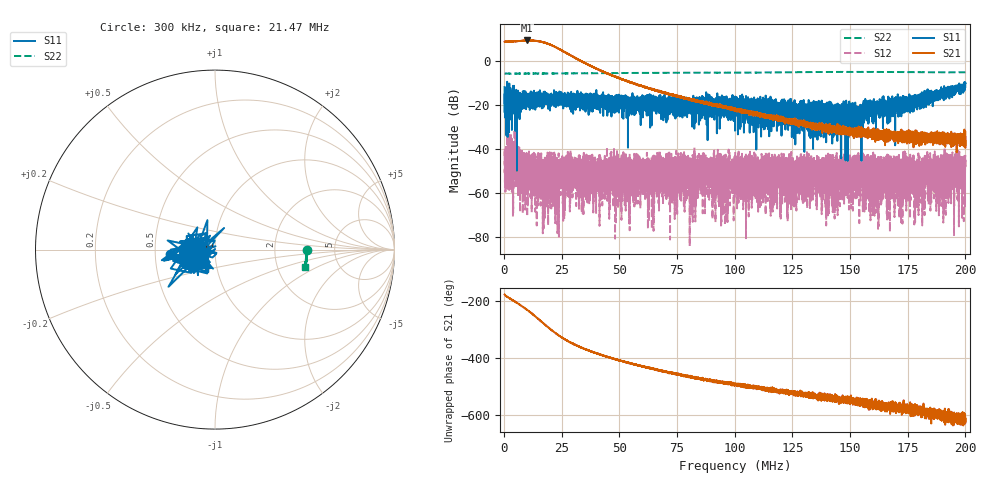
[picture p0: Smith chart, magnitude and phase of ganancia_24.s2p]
# Hz S DB R 50
! CMT, M5065, 19127446, 24.2.4/2
! Date: 11/8/2024 3:59:11 PM
! Data: Format (Calibration Info)
! Freq	S11:dB/Ang(F2)	S21:dB/Ang(F2)	S12:dB/Ang(F2)	S22:dB/Ang(F2)
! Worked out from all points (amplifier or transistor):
!   9000 points, 300 kHz to 200 MHz, reference 50 ohm
!   highest |S21| = 9.2 dB at 10.04 MHz (marker M1)
!   |S21| within 3 dB of that: start of sweep to 22.32 MHz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
!   unconditionally stable (mu >= 1): start of sweep to end of sweep
!   at 33.59 MHz: K = 96.25, MAG = 1.1 dB, |S12| = -48.2 dB
!   at 100.2 MHz: K = 1614.95, MAG = -20.9 dB, |S12| = -50.9 dB
!   at 200 MHz: K = 3399.93, MAG = -34.3 dB, |S12| = -44.3 dB
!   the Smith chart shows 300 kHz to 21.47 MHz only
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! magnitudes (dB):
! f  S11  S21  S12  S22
! 300 kHz  -12.0  8.6  -44.5  -5.8
! 1.521 MHz  -14.3  8.6  -41.9  -5.8
! 5.249 MHz  -22.4  8.9  -44.0  -5.9
! 7.268 MHz  -15.9  8.9  -45.7  -5.8
! 10.04 MHz  -17.6  9.2  -55.7  -5.8
! 16.85 MHz  -18.7  8.4  -78.3  -5.8
! 21.16 MHz  -17.2  6.8  -58.1  -5.8
! 22.98 MHz  -18.1  5.8  -54.5  -5.8
! 27.44 MHz  -17.8  3.2  -47.4  -5.8
! 33.59 MHz  -20.1  -0.3  -48.2  -5.7
! 66.87 MHz  -18.9  -13.6  -43.2  -5.5
! 100.2 MHz  -18.3  -22.4  -50.9  -5.4
! 133.4 MHz  -21.8  -28.3  -55.3  -5.2
! 146.7 MHz  -23.7  -31.3  -49.8  -5.1
! 150.5 MHz  -23.5  -31.7  -47.7  -5.1
! 154.3 MHz  -23.5  -32.8  -48.6  -5.1
! 156.9 MHz  -18.1  -32.7  -50.6  -5.1
! 166.7 MHz  -20.8  -33.1  -50.6  -5.2
! 180.4 MHz  -17.3  -36.1  -52.6  -5.2
! 192.5 MHz  -15.1  -36.6  -42.9  -5.3
! 197.6 MHz  -12.1  -35.3  -48.1  -5.3
! 200 MHz  -10.2  -36.3  -44.3  -5.3
